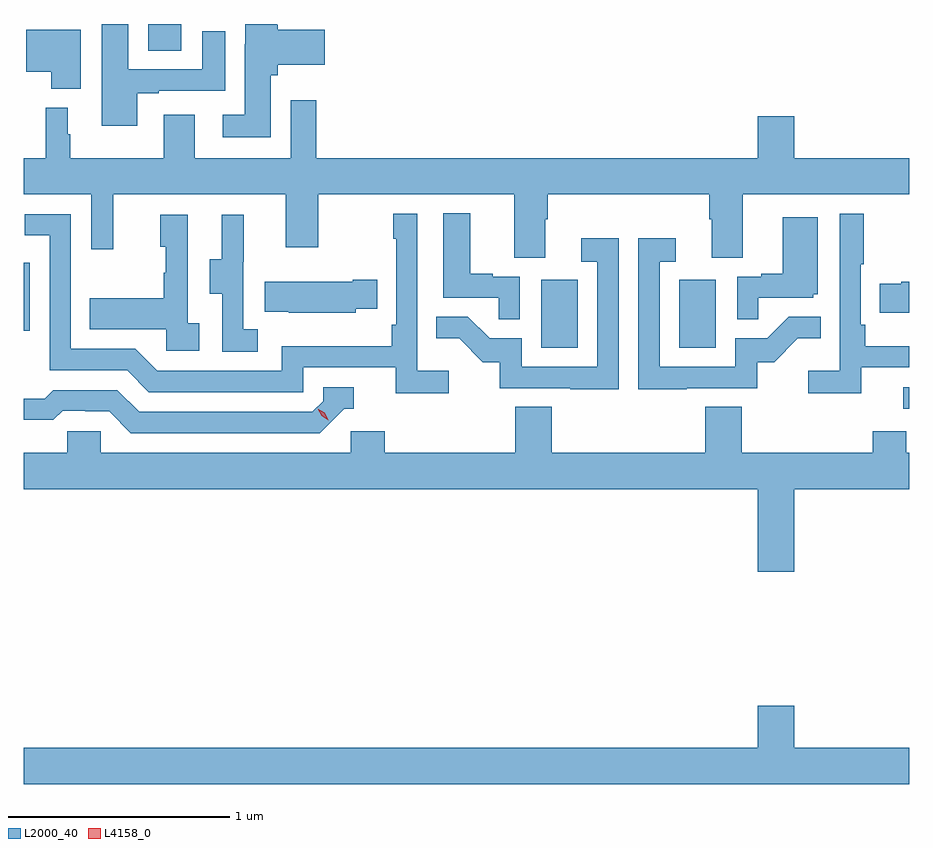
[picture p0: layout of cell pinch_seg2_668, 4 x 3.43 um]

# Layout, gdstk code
import gdstk
lib = gdstk.Library(unit=1e-6, precision=1e-09)
def R(c, l, rs):  # rectangles x0, y0, x1, y1
    for r in rs: c.add(gdstk.rectangle(r[:2], r[2:], *l))
def P(c, l, *ps):  # polygons
    for p in ps: c.add(gdstk.Polygon(p, *l))
L2000_40 = (2000, 40)
L4158_0 = (4158, 0)

pinch_seg2_668 = lib.new_cell('pinch_seg2_668')
R(pinch_seg2_668, L2000_40, [(1112.717,602.712,1112.744,602.808), (1111.082,602.988,1111.246,603.295), (1111.706,602.988,1111.87,603.295), (1108.744,603.063,1108.77,603.372), (1109.306,604.33,1109.455,604.45)])
P(pinch_seg2_668, L2000_40, [(1109.257,604.137),(1109.353,604.137),(1109.353,604.149),(1109.653,604.149),(1109.653,604.417),(1109.549,604.417),(1109.549,604.245),(1109.215,604.245),(1109.215,604.45),(1109.096,604.45),(1109.096,603.99),(1109.257,603.99)],
  [(1109.86,604.218),(1109.891,604.218),(1109.891,604.265),(1110.103,604.265),(1110.103,604.423),(1109.891,604.423),(1109.891,604.446),(1109.887,604.45),(1109.745,604.45),(1109.745,604.358),(1109.741,604.358),(1109.741,604.039),(1109.643,604.039),(1109.643,603.938),(1109.86,603.938)],
  [(1109.002,604.423),(1108.754,604.423),(1108.754,604.235),(1108.868,604.235),(1108.868,604.157),(1109.002,604.157)],
  [(1110.065,604.105),(1109.949,604.105),(1109.949,603.844),(1109.515,603.844),(1109.515,604.039),(1109.375,604.039),(1109.375,603.844),(1108.954,603.844),(1108.954,603.951),(1108.942,603.951),(1108.942,604.072),(1108.844,604.072),(1108.844,603.844),(1108.744,603.844),(1108.744,603.68),(1109.049,603.68),(1109.049,603.432),(1109.147,603.432),(1109.147,603.68),(1109.927,603.68),(1109.927,603.441),(1110.075,603.441),(1110.075,603.68),(1110.959,603.68),(1110.959,603.394),(1111.099,603.394),(1111.099,603.568),(1111.112,603.568),(1111.112,603.68),(1111.841,603.68),(1111.841,603.568),(1111.853,603.568),(1111.853,603.394),(1111.993,603.394),(1111.993,603.68),(1112.744,603.68),(1112.744,603.844),(1112.224,603.844),(1112.224,604.033),(1112.06,604.033),(1112.06,603.844),(1110.065,603.844)],
  [(1110.984,603.309),(1110.863,603.309),(1110.863,603.322),(1110.76,603.322),(1110.76,603.595),(1110.638,603.595),(1110.638,603.213),(1110.889,603.213),(1110.889,603.115),(1110.984,603.115)],
  [(1110.664,602.884),(1110.522,602.884),(1110.522,603.592),(1110.414,603.592),(1110.414,603.479),(1110.426,603.479),(1110.426,603.091),(1110.406,603.091),(1110.406,602.995),(1109.91,602.995),(1109.91,602.883),(1109.346,602.883),(1109.247,602.982),(1108.956,602.982),(1108.956,603.591),(1108.747,603.591),(1108.747,603.495),(1108.86,603.495),(1108.86,602.886),(1109.21,602.886),(1109.309,602.787),(1110.006,602.787),(1110.006,602.898),(1110.425,602.898),(1110.425,602.782),(1110.664,602.782)],
  [(1112.528,602.898),(1112.744,602.898),(1112.744,602.995),(1112.546,602.995),(1112.546,603.091),(1112.526,603.091),(1112.526,603.364),(1112.539,603.364),(1112.539,603.592),(1112.43,603.592),(1112.43,602.884),(1112.289,602.884),(1112.289,602.782),(1112.528,602.782)],
  [(1109.8,603.071),(1109.736,603.071),(1109.736,603.375),(1109.738,603.375),(1109.738,603.589),(1109.639,603.589),(1109.639,603.387),(1109.585,603.387),(1109.585,603.232),(1109.64,603.232),(1109.64,602.968),(1109.8,602.968)],
  [(1109.536,603.098),(1109.484,603.098),(1109.484,603.589),(1109.36,603.589),(1109.36,603.444),(1109.386,603.444),(1109.386,603.326),(1109.376,603.326),(1109.376,603.211),(1109.041,603.211),(1109.041,603.071),(1109.388,603.071),(1109.388,602.973),(1109.536,602.973)],
  [(1112.063,603.213),(1112.31,603.213),(1112.31,603.228),(1112.332,603.228),(1112.332,603.577),(1112.174,603.577),(1112.174,603.322),(1112.075,603.322),(1112.075,603.309),(1111.968,603.309),(1111.968,603.115),(1112.063,603.115)],
  [(1111.739,602.805),(1112.058,602.805),(1112.058,602.922),(1112.134,602.922),(1112.241,603.029),(1112.345,603.029),(1112.345,603.128),(1112.201,603.128),(1112.103,603.03),(1111.959,603.03),(1111.959,602.901),(1111.617,602.901),(1111.617,603.375),(1111.69,603.375),(1111.69,603.481),(1111.521,603.481),(1111.521,602.8),(1111.739,602.8)],
  [(1111.431,603.481),(1111.263,603.481),(1111.263,603.375),(1111.335,603.375),(1111.335,602.901),(1110.993,602.901),(1110.993,603.03),(1110.848,603.03),(1110.75,603.128),(1110.607,603.128),(1110.607,603.029),(1110.711,603.029),(1110.818,602.922),(1110.895,602.922),(1110.895,602.805),(1111.213,602.805),(1111.213,602.8),(1111.431,602.8)],
  [(1110.243,603.164),(1110.341,603.164),(1110.341,603.294),(1110.23,603.294),(1110.23,603.286),(1109.833,603.286),(1109.833,603.149),(1109.941,603.149),(1109.941,603.146),(1110.243,603.146)],
  [(1112.744,603.286),(1112.709,603.286),(1112.709,603.276),(1112.611,603.276),(1112.611,603.146),(1112.744,603.146)],
  [(1110.192,602.712),(1110.235,602.712),(1110.235,602.808),(1110.096,602.808),(1110.096,602.745),(1110.048,602.697),(1109.265,602.697),(1109.166,602.796),(1108.877,602.796),(1108.838,602.757),(1108.744,602.757),(1108.744,602.661),(1108.877,602.661),(1108.919,602.703),(1109.022,602.703),(1109.022,602.7),(1109.129,602.7),(1109.228,602.601),(1110.081,602.601)],
  [(1112.224,602.348),(1112.744,602.348),(1112.744,602.512),(1112.73,602.512),(1112.73,602.61),(1112.579,602.61),(1112.579,602.512),(1111.988,602.512),(1111.988,602.72),(1111.823,602.72),(1111.823,602.512),(1111.13,602.512),(1111.13,602.72),(1110.965,602.72),(1110.965,602.512),(1110.374,602.512),(1110.374,602.61),(1110.222,602.61),(1110.222,602.512),(1109.091,602.512),(1109.091,602.61),(1108.941,602.61),(1108.941,602.512),(1108.744,602.512),(1108.744,602.348),(1112.06,602.348),(1112.06,601.974),(1112.224,601.974)],
  [(1112.744,601.18),(1112.224,601.18),(1112.224,601.369),(1112.06,601.369),(1112.06,601.18),(1108.744,601.18),(1108.744,601.016),(1112.744,601.016)])
P(pinch_seg2_668, L4158_0, [(1110.12,602.66),(1110.089,602.679),(1110.073,602.712),(1110.073,602.712),(1110.073,602.712),(1110.104,602.693),(1110.12,602.66),(1110.12,602.66)])

lib.write_gds('pinch_seg2_668.gds')
